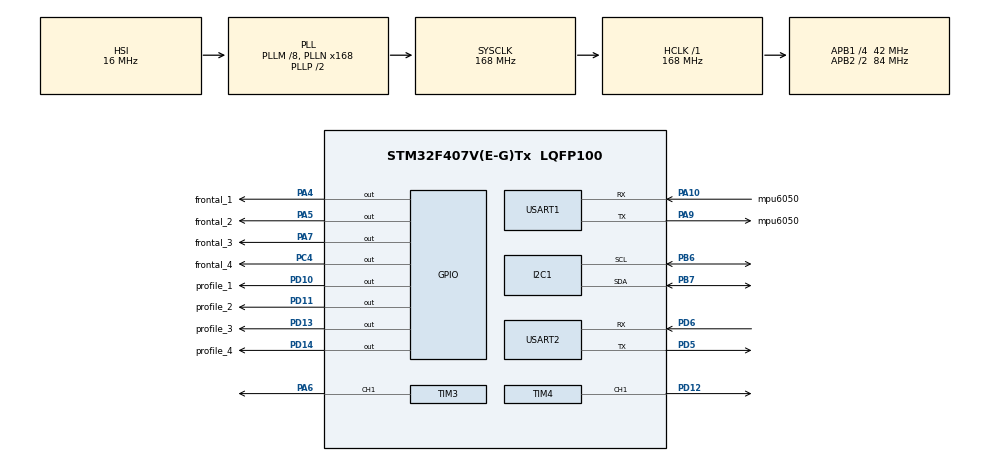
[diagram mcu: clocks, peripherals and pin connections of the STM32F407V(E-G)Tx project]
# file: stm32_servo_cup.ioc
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Mcu.Family=STM32F4
Mcu.Name=STM32F407V(E-G)Tx
Mcu.Package=LQFP100
NVIC.PriorityGroup=NVIC_PRIORITYGROUP_4
NVIC.TIM1_BRK_TIM9_IRQn=true\:0\:0\:false\:false\:true\:true\:true
NVIC.USART1_IRQn=true\:0\:0\:false\:false\:true\:true\:true
PA10.GPIO_Label=mpu6050
PA10.Mode=Asynchronous
PA10.Signal=USART1_RX
PA4.GPIO_Label=frontal_1
PA4.GPIO_PuPd=GPIO_PULLDOWN
PA4.Signal=GPIO_Output
PA5.GPIO_Label=frontal_2
PA5.GPIO_PuPd=GPIO_PULLDOWN
PA5.Signal=GPIO_Output
PA6.GPIO_PuPd=GPIO_PULLUP
PA6.Signal=S_TIM3_CH1
PA7.GPIO_Label=frontal_3
PA7.GPIO_PuPd=GPIO_PULLDOWN
PA7.Signal=GPIO_Output
PA9.GPIO_Label=mpu6050
PA9.Mode=Asynchronous
PA9.Signal=USART1_TX
PB6.Mode=I2C
PB6.Signal=I2C1_SCL
PB7.Mode=I2C
PB7.Signal=I2C1_SDA
PC4.GPIO_Label=frontal_4
PC4.GPIO_PuPd=GPIO_PULLDOWN
PC4.Signal=GPIO_Output
PD10.GPIO_Label=profile_1
PD10.GPIO_PuPd=GPIO_PULLDOWN
PD10.Signal=GPIO_Output
PD11.GPIO_Label=profile_2
PD11.GPIO_PuPd=GPIO_PULLDOWN
PD11.Signal=GPIO_Output
PD12.GPIO_PuPd=GPIO_PULLUP
PD12.Signal=S_TIM4_CH1
PD13.GPIO_Label=profile_3
PD13.GPIO_PuPd=GPIO_PULLDOWN
PD13.Signal=GPIO_Output
PD14.GPIO_Label=profile_4
PD14.GPIO_PuPd=GPIO_PULLDOWN
PD14.Signal=GPIO_Output
PD5.GPIO_PuPd=GPIO_PULLDOWN
PD5.Mode=Asynchronous
PD5.Signal=USART2_TX
PD6.GPIO_PuPd=GPIO_PULLDOWN
PD6.Mode=Asynchronous
PD6.Signal=USART2_RX
PH0-OSC_IN.Mode=HSE-External-Oscillator
PH0-OSC_IN.Signal=RCC_OSC_IN
PH1-OSC_OUT.Mode=HSE-External-Oscillator
PH1-OSC_OUT.Signal=RCC_OSC_OUT
ProjectManager.HeapSize=0x200
ProjectManager.StackSize=0x400
ProjectManager.TargetToolchain=MDK-ARM V5.27
RCC.48MHZClocksFreq_Value=84000000
RCC.AHBFreq_Value=168000000
RCC.APB1CLKDivider=RCC_HCLK_DIV4
RCC.APB1Freq_Value=42000000
RCC.APB1TimFreq_Value=84000000
RCC.APB2CLKDivider=RCC_HCLK_DIV2
RCC.APB2Freq_Value=84000000
RCC.APB2TimFreq_Value=168000000
RCC.CortexFreq_Value=168000000
RCC.HCLKFreq_Value=168000000
RCC.HSE_VALUE=25000000
RCC.HSI_VALUE=16000000
RCC.LSE_VALUE=32768
RCC.PLLM=8
RCC.PLLN=168
RCC.SYSCLKFreq_VALUE=168000000
RCC.SYSCLKSource=RCC_SYSCLKSOURCE_PLLCLK
RCC.VCOOutputFreq_Value=336000000
SH.S_TIM3_CH1.0=TIM3_CH1,PWM Generation1 CH1
SH.S_TIM4_CH1.0=TIM4_CH1,PWM Generation1 CH1
TIM1.Period=99
TIM1.Prescaler=167
TIM3.Channel-PWM\ Generation1\ CH1=TIM_CHANNEL_1
TIM3.Period=65535
TIM3.Prescaler=0
TIM4.Channel-PWM\ Generation1\ CH1=TIM_CHANNEL_1
TIM4.Period=65535
TIM4.Prescaler=0
USART1.VirtualMode=VM_ASYNC
USART2.VirtualMode=VM_ASYNC
VP_TIM1_VS_ClockSourceINT.Mode=Internal
board=custom

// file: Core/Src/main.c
/* USER CODE BEGIN Header */
/**
  ******************************************************************************
  * @file           : main.c
  * @brief          : Main program body
  ******************************************************************************
  * @attention
  *
  * <h2><center>&copy; Copyright (c) 2020 STMicroelectronics.
  * All rights reserved.</center></h2>
  *
  * This software component is licensed by ST under BSD 3-Clause license,
  * the "License"; You may not use this file except in compliance with the
  * License. You may obtain a copy of the License at:
  *                        opensource.org/licenses/BSD-3-Clause
  *
  ******************************************************************************
  */
/* USER CODE END Header */
#include "main.h"
#include "i2c.h"
#include "tim.h"
#include "usart.h"
#include "gpio.h"

/* USER CODE BEGIN Includes */
#include "servo.h"
#include "uart_handler.h"
#include <stdio.h>
/* USER CODE END Includes */

/* USER CODE BEGIN PV */
unsigned char ucData;
/* USER CODE END PV */

void SystemClock_Config(void);

/* USER CODE BEGIN 0 */
int fputc(int ch, FILE *f){
	uint8_t temp[1] = {ch};
	HAL_UART_Transmit(&huart2, temp, 1, 10);//huart1需要根据你的配置修改
	return ch;
}
/* USER CODE END 0 */

int main(void)
{

  /* MCU Configuration--------------------------------------------------------*/

  /* Reset of all peripherals, Initializes the Flash interface and the Systick. */
  HAL_Init();

  /* Configure the system clock */
  SystemClock_Config();

  /* Initialize all configured peripherals */
  MX_GPIO_Init();
  MX_TIM3_Init();
  MX_TIM4_Init();
  MX_I2C1_Init();
  MX_TIM1_Init();
  MX_USART1_UART_Init();
  MX_USART2_UART_Init();
  /* USER CODE BEGIN 2 */
  HAL_TIM_Base_Start_IT(&htim1);
	HAL_TIM_PWM_Start(&htim3,TIM_CHANNEL_1);
	HAL_TIM_PWM_Start(&htim4,TIM_CHANNEL_1);
	__HAL_TIM_SetCompare(&htim3, TIM_CHANNEL_1, 0);
	__HAL_TIM_SetCompare(&htim4, TIM_CHANNEL_1, 0);
	HAL_UART_Receive_IT(&huart1,&ucData,1);
  /* USER CODE END 2 */

  /* Infinite loop */
  while (1)
  {

    /* USER CODE BEGIN 3 */
		angle_dateprocess();

  }
  /* USER CODE END 3 */
}

void SystemClock_Config(void)
{
  RCC_OscInitTypeDef RCC_OscInitStruct = {0};
  RCC_ClkInitTypeDef RCC_ClkInitStruct = {0};

  /** Configure the main internal regulator output voltage
  */
  __HAL_RCC_PWR_CLK_ENABLE();
  __HAL_PWR_VOLTAGESCALING_CONFIG(PWR_REGULATOR_VOLTAGE_SCALE1);
  /** Initializes the RCC Oscillators according to the specified parameters
  * in the RCC_OscInitTypeDef structure.
  */
  RCC_OscInitStruct.OscillatorType = RCC_OSCILLATORTYPE_HSI;
  RCC_OscInitStruct.HSIState = RCC_HSI_ON;
  RCC_OscInitStruct.HSICalibrationValue = RCC_HSICALIBRATION_DEFAULT;
  RCC_OscInitStruct.PLL.PLLState = RCC_PLL_ON;
  RCC_OscInitStruct.PLL.PLLSource = RCC_PLLSOURCE_HSI;
  RCC_OscInitStruct.PLL.PLLM = 8;
  RCC_OscInitStruct.PLL.PLLN = 168;
  RCC_OscInitStruct.PLL.PLLP = RCC_PLLP_DIV2;
  RCC_OscInitStruct.PLL.PLLQ = 4;
  if (HAL_RCC_OscConfig(&RCC_OscInitStruct) != HAL_OK)
  {
    Error_Handler();
  }
  /** Initializes the CPU, AHB and APB buses clocks
  */
  RCC_ClkInitStruct.ClockType = RCC_CLOCKTYPE_HCLK|RCC_CLOCKTYPE_SYSCLK
                              |RCC_CLOCKTYPE_PCLK1|RCC_CLOCKTYPE_PCLK2;
  RCC_ClkInitStruct.SYSCLKSource = RCC_SYSCLKSOURCE_PLLCLK;
  RCC_ClkInitStruct.AHBCLKDivider = RCC_SYSCLK_DIV1;
  RCC_ClkInitStruct.APB1CLKDivider = RCC_HCLK_DIV4;
  RCC_ClkInitStruct.APB2CLKDivider = RCC_HCLK_DIV2;

  if (HAL_RCC_ClockConfig(&RCC_ClkInitStruct, FLASH_LATENCY_5) != HAL_OK)
  {
    Error_Handler();
  }
}

/* USER CODE BEGIN 4 */

void HAL_UART_RxCpltCallback(UART_HandleTypeDef *huart){
	if(huart->Instance == USART1){
		angle_rec(ucData);
		HAL_UART_Receive_IT(&huart1,&ucData,1);
		printf("11");
	}
}

void HAL_TIM_PeriodElapsedCallback(TIM_HandleTypeDef *htim){
	if(htim == (&htim1)){
		uint8_t position[2] ={5,5};
		if(setZero()==1){
			PIDtoPosition(position);
		}
	}
}

/* USER CODE END 4 */

void Error_Handler(void)
{
}

/************************ (C) COPYRIGHT STMicroelectronics *****END OF FILE****/
